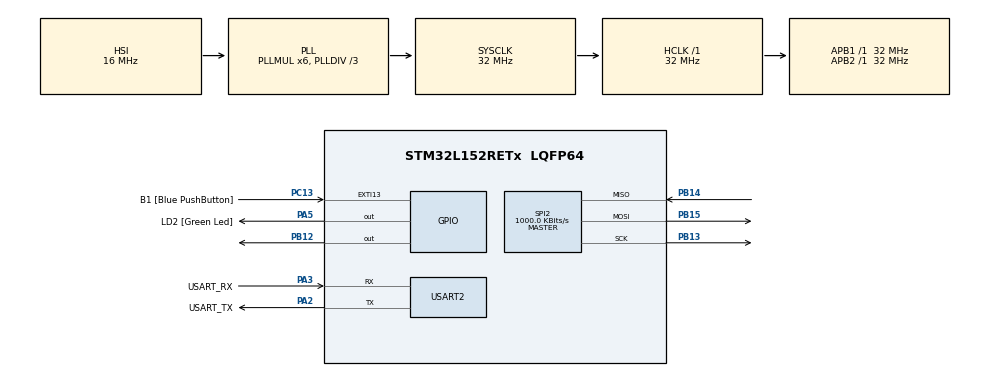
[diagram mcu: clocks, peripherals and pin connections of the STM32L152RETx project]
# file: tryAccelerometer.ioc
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Mcu.Family=STM32L1
Mcu.Name=STM32L152RETx
Mcu.Package=LQFP64
NVIC.PriorityGroup=NVIC_PRIORITYGROUP_0
PA13.GPIO_Label=TMS
PA13.Mode=Serial_Wire
PA13.Signal=SYS_JTMS-SWDIO
PA14.GPIO_Label=TCK
PA14.Mode=Serial_Wire
PA14.Signal=SYS_JTCK-SWCLK
PA2.GPIO_Label=USART_TX
PA2.Mode=Asynchronous
PA2.Signal=USART2_TX
PA3.GPIO_Label=USART_RX
PA3.Mode=Asynchronous
PA3.Signal=USART2_RX
PA5.GPIO_Label=LD2 [Green Led]
PA5.Signal=GPIO_Output
PB12.Signal=GPIO_Output
PB13.Mode=Full_Duplex_Master
PB13.Signal=SPI2_SCK
PB14.Mode=Full_Duplex_Master
PB14.Signal=SPI2_MISO
PB15.Mode=Full_Duplex_Master
PB15.Signal=SPI2_MOSI
PB3.GPIO_Label=SWO
PB3.Signal=SYS_JTDO-TRACESWO
PC13-WKUP2.GPIO_Label=B1 [Blue PushButton]
PC13-WKUP2.Signal=GPXTI13
PC14-OSC32_IN.Mode=LSE-External-Oscillator
PC14-OSC32_IN.Signal=RCC_OSC32_IN
PC15-OSC32_OUT.Mode=LSE-External-Oscillator
PC15-OSC32_OUT.Signal=RCC_OSC32_OUT
PH0-OSC_IN.Mode=HSE-External-Clock-Source
PH0-OSC_IN.Signal=RCC_OSC_IN
PH1-OSC_OUT.Signal=RCC_OSC_OUT
ProjectManager.HeapSize=0x200
ProjectManager.StackSize=0x400
ProjectManager.TargetToolchain=STM32CubeIDE
RCC.48MHZClocksFreq_Value=48000000
RCC.AHBFreq_Value=32000000
RCC.APB1Freq_Value=32000000
RCC.APB1TimFreq_Value=32000000
RCC.APB2Freq_Value=32000000
RCC.APB2TimFreq_Value=32000000
RCC.HCLKFreq_Value=32000000
RCC.HSE_VALUE=8000000
RCC.HSI_VALUE=16000000
RCC.MSI_VALUE=2097000
RCC.PLLDIV=RCC_PLL_DIV3
RCC.PLLMUL=RCC_PLL_MUL6
RCC.RTCClockSelectionVirtual=RCC_RTCCLKSOURCE_LSE
RCC.SYSCLKFreq_VALUE=32000000
RCC.SYSCLKSource=RCC_SYSCLKSOURCE_PLLCLK
RCC.USBOutput=48000000
RCC.VCOOutputFreq_Value=96000000
SPI2.BaudRatePrescaler=SPI_BAUDRATEPRESCALER_32
SPI2.CalculateBaudRate=1000.0 KBits/s
SPI2.Direction=SPI_DIRECTION_2LINES
SPI2.Mode=SPI_MODE_MASTER
SPI2.VirtualType=VM_MASTER
USART2.VirtualMode=VM_ASYNC
board=NUCLEO-L152RE

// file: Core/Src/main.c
/* USER CODE BEGIN Header */
/**
  ******************************************************************************
  * @file           : main.c
  * @brief          : Main program body
  ******************************************************************************
  * @attention
  *
  * Copyright (c) 2022 STMicroelectronics.
  * All rights reserved.
  *
  * This software is licensed under terms that can be found in the LICENSE file
  * in the root directory of this software component.
  * If no LICENSE file comes with this software, it is provided AS-IS.
  *
  ******************************************************************************
  */
/* USER CODE END Header */
#include "main.h"

/* USER CODE BEGIN Includes */
#include "lis2dw12_reg.h"
#include <stdio.h>
/* USER CODE END Includes */

/* USER CODE BEGIN PM */
#define BOOT_TIME           20 //ms
#define SENSOR_BUS 			hspi2
#define CS_GPIO_Port		GPIOB
#define CS_GPIO_Pin			GPIO_PIN_12

/* USER CODE END PM */

SPI_HandleTypeDef hspi2;

UART_HandleTypeDef huart2;

/* USER CODE BEGIN PV */
static uint8_t whoamI, rst;
static uint8_t tx_buffer[1000];
uint8_t *notFoundMsg = "Device not Found\r\n";

/* USER CODE END PV */

void SystemClock_Config(void);
static void MX_GPIO_Init(void);
static void MX_USART2_UART_Init(void);
static void MX_SPI2_Init(void);
/* USER CODE BEGIN PFP */
static int32_t platform_write(void *handle, uint8_t reg, const uint8_t *bufp,
                              uint16_t len);
static int32_t platform_read(void *handle, uint8_t reg, uint8_t *bufp,
                             uint16_t len);
/* USER CODE END PFP */

/* USER CODE BEGIN 0 */
int __io_putchar(int ch) {
	HAL_UART_Transmit(&huart2, (uint8_t *)&ch, 1, 100);
	return ch;
}

/* USER CODE END 0 */

int main(void)
{
  /* USER CODE BEGIN 1 */
	/* Initialize mems driver interface */
	stmdev_ctx_t dev_ctx;
	lis2dw12_reg_t int_route;
	dev_ctx.write_reg = platform_write;
	dev_ctx.read_reg = platform_read;
	dev_ctx.handle = &SENSOR_BUS;
	int16_t rawTemp;
	float temp;

  /* USER CODE END 1 */

  /* MCU Configuration--------------------------------------------------------*/

  /* Reset of all peripherals, Initializes the Flash interface and the Systick. */
  HAL_Init();

  /* Configure the system clock */
  SystemClock_Config();

  /* Initialize all configured peripherals */
  MX_GPIO_Init();
  MX_USART2_UART_Init();
  MX_SPI2_Init();
  /* USER CODE BEGIN 2 */
  	HAL_GPIO_WritePin(CS_GPIO_Port, CS_GPIO_Pin, GPIO_PIN_SET);

  	/* Check device ID */
	lis2dw12_device_id_get(&dev_ctx, &whoamI);

	if (whoamI != LIS2DW12_ID) {
		/* manage here device not found */
		HAL_UART_Transmit(&huart2, notFoundMsg, sizeof(notFoundMsg), 1000);
	}

	/* Restore default configuration */
	lis2dw12_reset_set(&dev_ctx, PROPERTY_ENABLE);

	do {
		lis2dw12_reset_get(&dev_ctx, &rst);
	} while (rst);

	/* Configure power mode */
	lis2dw12_power_mode_set(&dev_ctx,
						  LIS2DW12_CONT_LOW_PWR_LOW_NOISE_12bit);
	/* Set Output Data Rate */
	lis2dw12_data_rate_set(&dev_ctx, LIS2DW12_XL_ODR_200Hz);

  /* USER CODE END 2 */

  /* Infinite loop */
  /* USER CODE BEGIN WHILE */
  while (1)
  {
	  lis2dw12_temperature_raw_get(&dev_ctx, &rawTemp);
	  temp = lis2dw12_from_lsb_to_celsius(rawTemp);
	  printf("%f\r\n",temp);
	  HAL_Delay(1000);
    /* USER CODE END WHILE */

  }
}

void SystemClock_Config(void)
{
  RCC_OscInitTypeDef RCC_OscInitStruct = {0};
  RCC_ClkInitTypeDef RCC_ClkInitStruct = {0};

  /** Configure the main internal regulator output voltage
  */
  __HAL_PWR_VOLTAGESCALING_CONFIG(PWR_REGULATOR_VOLTAGE_SCALE1);
  /** Initializes the RCC Oscillators according to the specified parameters
  * in the RCC_OscInitTypeDef structure.
  */
  RCC_OscInitStruct.OscillatorType = RCC_OSCILLATORTYPE_HSI;
  RCC_OscInitStruct.HSIState = RCC_HSI_ON;
  RCC_OscInitStruct.HSICalibrationValue = RCC_HSICALIBRATION_DEFAULT;
  RCC_OscInitStruct.PLL.PLLState = RCC_PLL_ON;
  RCC_OscInitStruct.PLL.PLLSource = RCC_PLLSOURCE_HSI;
  RCC_OscInitStruct.PLL.PLLMUL = RCC_PLL_MUL6;
  RCC_OscInitStruct.PLL.PLLDIV = RCC_PLL_DIV3;
  if (HAL_RCC_OscConfig(&RCC_OscInitStruct) != HAL_OK)
  {
    Error_Handler();
  }
  /** Initializes the CPU, AHB and APB buses clocks
  */
  RCC_ClkInitStruct.ClockType = RCC_CLOCKTYPE_HCLK|RCC_CLOCKTYPE_SYSCLK
                              |RCC_CLOCKTYPE_PCLK1|RCC_CLOCKTYPE_PCLK2;
  RCC_ClkInitStruct.SYSCLKSource = RCC_SYSCLKSOURCE_PLLCLK;
  RCC_ClkInitStruct.AHBCLKDivider = RCC_SYSCLK_DIV1;
  RCC_ClkInitStruct.APB1CLKDivider = RCC_HCLK_DIV1;
  RCC_ClkInitStruct.APB2CLKDivider = RCC_HCLK_DIV1;

  if (HAL_RCC_ClockConfig(&RCC_ClkInitStruct, FLASH_LATENCY_1) != HAL_OK)
  {
    Error_Handler();
  }
}

static void MX_SPI2_Init(void)
{

  /* SPI2 parameter configuration*/
  hspi2.Instance = SPI2;
  hspi2.Init.Mode = SPI_MODE_MASTER;
  hspi2.Init.Direction = SPI_DIRECTION_2LINES;
  hspi2.Init.DataSize = SPI_DATASIZE_8BIT;
  hspi2.Init.CLKPolarity = SPI_POLARITY_LOW;
  hspi2.Init.CLKPhase = SPI_PHASE_1EDGE;
  hspi2.Init.NSS = SPI_NSS_SOFT;
  hspi2.Init.BaudRatePrescaler = SPI_BAUDRATEPRESCALER_32;
  hspi2.Init.FirstBit = SPI_FIRSTBIT_MSB;
  hspi2.Init.TIMode = SPI_TIMODE_DISABLE;
  hspi2.Init.CRCCalculation = SPI_CRCCALCULATION_DISABLE;
  hspi2.Init.CRCPolynomial = 10;
  if (HAL_SPI_Init(&hspi2) != HAL_OK)
  {
    Error_Handler();
  }

}

static void MX_USART2_UART_Init(void)
{

  huart2.Instance = USART2;
  huart2.Init.BaudRate = 115200;
  huart2.Init.WordLength = UART_WORDLENGTH_8B;
  huart2.Init.StopBits = UART_STOPBITS_1;
  huart2.Init.Parity = UART_PARITY_NONE;
  huart2.Init.Mode = UART_MODE_TX_RX;
  huart2.Init.HwFlowCtl = UART_HWCONTROL_NONE;
  huart2.Init.OverSampling = UART_OVERSAMPLING_16;
  if (HAL_UART_Init(&huart2) != HAL_OK)
  {
    Error_Handler();
  }

}

static void MX_GPIO_Init(void)
{
  GPIO_InitTypeDef GPIO_InitStruct = {0};

  /* GPIO Ports Clock Enable */
  __HAL_RCC_GPIOC_CLK_ENABLE();
  __HAL_RCC_GPIOH_CLK_ENABLE();
  __HAL_RCC_GPIOA_CLK_ENABLE();
  __HAL_RCC_GPIOB_CLK_ENABLE();

  /*Configure GPIO pin Output Level */
  HAL_GPIO_WritePin(LD2_GPIO_Port, LD2_Pin, GPIO_PIN_RESET);

  /*Configure GPIO pin Output Level */
  HAL_GPIO_WritePin(GPIOB, GPIO_PIN_12, GPIO_PIN_RESET);

  /*Configure GPIO pin : B1_Pin */
  GPIO_InitStruct.Pin = B1_Pin;
  GPIO_InitStruct.Mode = GPIO_MODE_IT_RISING;
  GPIO_InitStruct.Pull = GPIO_NOPULL;
  HAL_GPIO_Init(B1_GPIO_Port, &GPIO_InitStruct);

  /*Configure GPIO pin : LD2_Pin */
  GPIO_InitStruct.Pin = LD2_Pin;
  GPIO_InitStruct.Mode = GPIO_MODE_OUTPUT_PP;
  GPIO_InitStruct.Pull = GPIO_NOPULL;
  GPIO_InitStruct.Speed = GPIO_SPEED_FREQ_LOW;
  HAL_GPIO_Init(LD2_GPIO_Port, &GPIO_InitStruct);

  /*Configure GPIO pin : PB12 */
  GPIO_InitStruct.Pin = GPIO_PIN_12;
  GPIO_InitStruct.Mode = GPIO_MODE_OUTPUT_PP;
  GPIO_InitStruct.Pull = GPIO_NOPULL;
  GPIO_InitStruct.Speed = GPIO_SPEED_FREQ_LOW;
  HAL_GPIO_Init(GPIOB, &GPIO_InitStruct);

}

/* USER CODE BEGIN 4 */
/*
 * @brief  Write generic device register (platform dependent)
 *
 * @param  handle    customizable argument. In this examples is used in
 *                   order to select the correct sensor bus handler.
 * @param  reg       register to write
 * @param  bufp      pointer to data to write in register reg
 * @param  len       number of consecutive register to write
 *
 */
static int32_t platform_write(void *handle, uint8_t reg, const uint8_t *bufp,
                              uint16_t len)
{
  HAL_GPIO_WritePin(CS_GPIO_Port, CS_GPIO_Pin, GPIO_PIN_RESET);
  HAL_SPI_Transmit(handle, &reg, 1, 1000);
  HAL_SPI_Transmit(handle, (uint8_t *)bufp, len, 1000);
  HAL_GPIO_WritePin(CS_GPIO_Port, CS_GPIO_Pin, GPIO_PIN_SET);
  return 0;
}

/*
 * @brief  Read generic device register (platform dependent)
 *
 * @param  handle    customizable argument. In this examples is used in
 *                   order to select the correct sensor bus handler.
 * @param  reg       register to read
 * @param  bufp      pointer to buffer that store the data read
 * @param  len       number of consecutive register to read
 *
 */
static int32_t platform_read(void *handle, uint8_t reg, uint8_t *bufp,
                             uint16_t len)
{
  reg |= 0x80;
  HAL_GPIO_WritePin(CS_GPIO_Port, CS_GPIO_Pin, GPIO_PIN_RESET);
  HAL_SPI_Transmit(handle, &reg, 1, 1000);
  HAL_SPI_Receive(handle, bufp, len, 1000);
  HAL_GPIO_WritePin(CS_GPIO_Port, CS_GPIO_Pin, GPIO_PIN_SET);
  return 0;
}
/* USER CODE END 4 */

void Error_Handler(void)
{
  __disable_irq();
  while (1)
  {
  }
}
